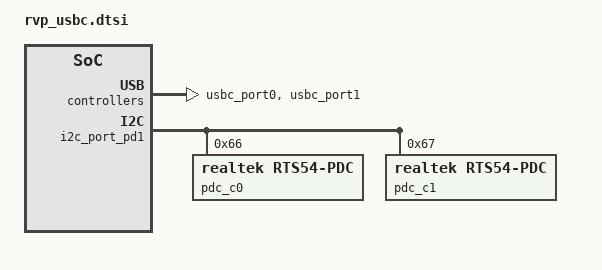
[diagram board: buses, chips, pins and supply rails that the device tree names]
/*
 * Copyright 2025 The ChromiumOS Authors
 *
 * SPDX-License-Identifier: Apache-2.0
 */

#include <usbc-policy.dtsi>

 /{
	usbc {
		#address-cells = <1>;
		#size-cells = <0>;
		usbc_port0: port0@0 {
			compatible = "named-usbc-port";
			reg = <0>;
			chg = <&charger>;
			pdc = <&pdc_c0>;
			pd-retimer;
			policy = <&cros_policy>;
		};
		usbc_port1: port1@1 {
			compatible = "named-usbc-port";
			reg = <1>;
			pdc = <&pdc_c1>;
			pd-retimer;
			policy = <&cros_policy>;
		};
	};
};

&i2c_port_pd1 {
	/* Define PDC IRQ GPIO(s) in board overlay */
	pdc_c0: rts54-pdc@66 {
		compatible = "realtek,rts54-pdc";
		reg = <0x66>;
		ccd;
	};
	pdc_c1: rts54-pdc@67 {
		compatible = "realtek,rts54-pdc";
		reg = <0x67>;
	};
};
